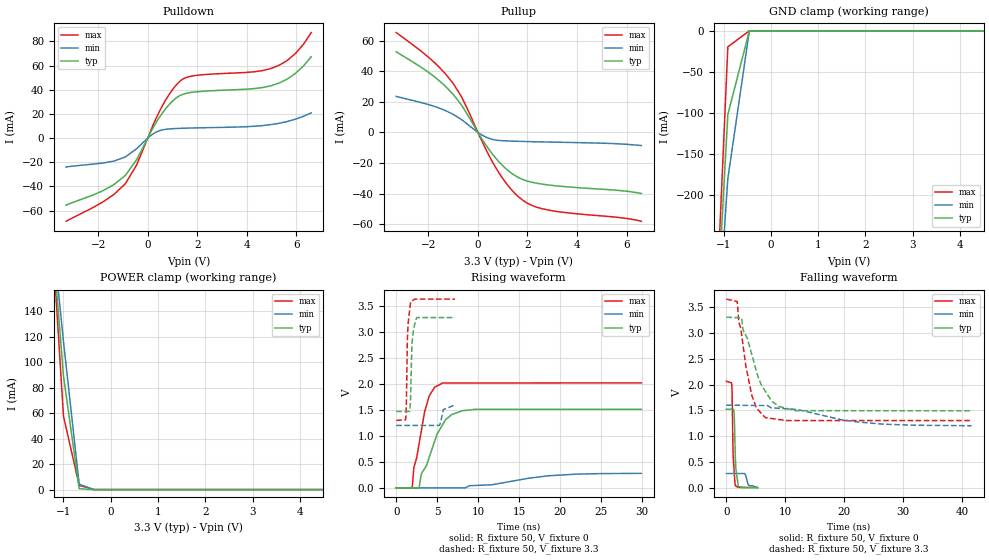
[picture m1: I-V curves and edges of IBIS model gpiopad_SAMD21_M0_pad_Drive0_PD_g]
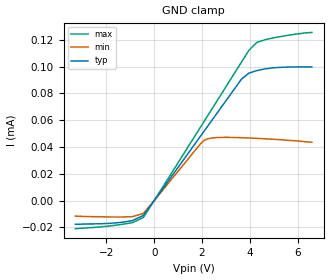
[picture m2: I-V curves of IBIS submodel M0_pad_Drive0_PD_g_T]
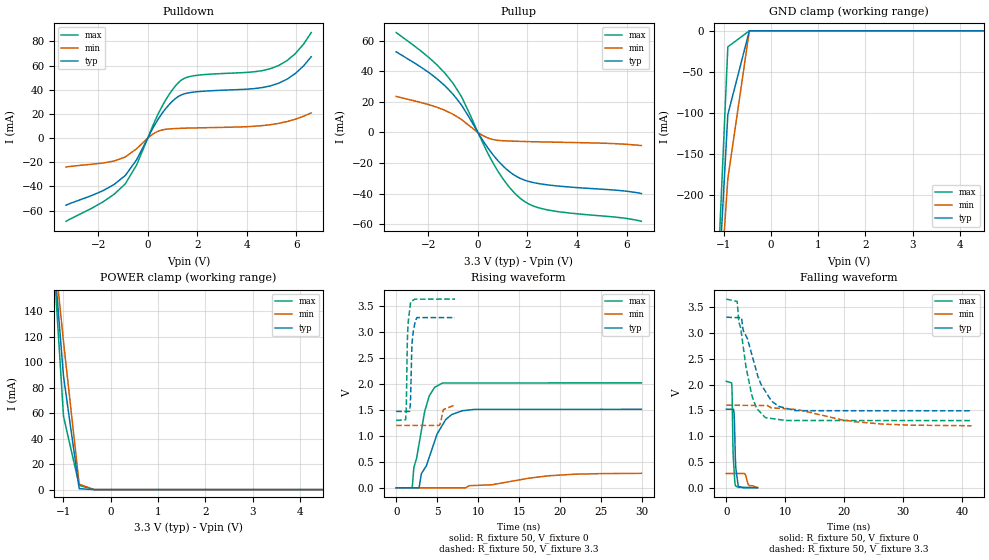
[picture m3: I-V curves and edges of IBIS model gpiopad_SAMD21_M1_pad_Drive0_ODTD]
|   - ATMEL Microcontrollers -
|   IBIS model for SAMD21_TQFP32
[IBIS Ver]   4.2
[Comment char]  |_char
[File Name]   samd21_3t32.ibs
[File Rev]   1.1
[Date]   16-SEP-2015 11:16:11
[Source]   By GENIBIS V3.6 - GENerate chip IBIS model - 11-SEP-2015
[Notes]   Property of ATMEL Corporation
[Disclaimer]
                  (C) Copyright ATMEL Nantes 2002-2015
Atmel Nantes makes no warranty for the use of its products, other than
those expressly contained in the Company's standard warranty which is detailed
in Atmel's Terms and Conditions located on the Company's web site. The Company
assumes no responsability for any errors which may appear in this document.
The user is granted this license only to use the IBIS model and is not granted
rights to sell, load, rent, lease or license the IBIS model in whole or in part,
or in modified form to anyone other than user. User may modify the IBIS model
to suit its specific applications but rights to derivative works and such
modifications shall belong to Atmel Nantes.
This IBIS model is provided on an \"AS IS\" basis and Atmel Nantes makes
absolutely no warranty with respect to the information contained herein.
[Copyright]   Copyright (c) 2002-2015 by ATMEL Nantes SA
|   COMPONENT : SAMD21_TQFP32
[Component]   SAMD21_TQFP32
[Manufacturer]  ATMEL Nantes SAS
[Package]
| Package family : TQFP_L
| RLC file   : V1.0
| RLCEDIT tool   : V1.10-2005/10/06
| variable   typ   min   max
R_pkg   117.51m   47.79m   180.13m
L_pkg   2.31n   1.29n   3.23n
C_pkg   204.61f   201.11f   213.13f
[Pin]   signal_name   model_name   R_pin   L_pin   C_pin
|   Real model names   <--->   IBIS model names
|   gpiopadrw100m33v3p66k25   gpiopad_SAMD21
|   gpiopadrw100m33v3p66k25   gpiopad_SAMD21
|   gpiopadrw100m33v3p66k25   gpiopad_SAMD21
|   gpiopadrw100m33v3p66k25   gpiopad_SAMD21
|   gpiopadrw100m33v3p66k25   gpiopad_SAMD21
|   gpiopadrw100m33v3p66k25   gpiopad_SAMD21
| gpiopadrtwihsmw100m33v3p66k25   gpiopadtwi_SAMD21
| gpiopadrtwihsmw100m33v3p66k25   gpiopadtwi_SAMD21
| gpiopadrtwihsmw100m33v3p66k25   gpiopadtwi_SAMD21
| gpiopadrtwihsmw100m33v3p66k25   gpiopadtwi_SAMD21
| gpiopadrtwihsmw100m33v3p66k25   gpiopadtwi_SAMD21
| gpiopadrtwihsmw100m33v3p66k25   gpiopadtwi_SAMD21
| gpiopadrtwihsmw100m33v3p66k25   gpiopadtwi_SAMD21
| gpiopadrtwihsmw100m33v3p66k25   gpiopadtwi_SAMD21
| gpiopadrtwihsmw100m33v3p66k25   gpiopadtwi_SAMD21
   1   PA00   gpiopad_SAMD21  131.35m   2.51n  204.16f
   2   PA01   gpiopad_SAMD21  106.20m   2.15n  203.50f
   3   PA02   gpiopad_SAMD21   96.87m   2.01n  203.25f
   4   PA03   gpiopad_SAMD21   97.60m   2.03n  203.27f
   5   PA04   gpiopad_SAMD21  105.14m   2.13n  203.47f
   6   PA05   gpiopad_SAMD21   95.11m   1.99n  203.21f
   7   PA06   gpiopad_SAMD21  103.88m   2.12n  203.44f
   8   PA07   gpiopad_SAMD21  127.77m   2.46n  204.07f
   9   VDDANA   POWER   53.65m   1.39n  211.03f
   10   GND   GND  125.87m   2.43n  204.02f
   11   PA08   gpiopadtwi_SAMD21  122.85m   2.39n  203.94f
   12   PA09   gpiopadtwi_SAMD21  130.98m   2.51n  204.15f
   13   PA10   gpiopad_SAMD21  150.34m   2.78n  204.67f
   14   PA11   gpiopad_SAMD21  179.41m   3.20n  205.43f
   15   PA14   gpiopad_SAMD21  127.59m   2.46n  204.07f
   16   PA15   gpiopad_SAMD21  134.65m   2.56n  204.25f
   17   PA16   gpiopadtwi_SAMD21  141.63m   2.66n  204.44f
   18   PA17   gpiopadtwi_SAMD21  115.85m   2.29n  203.76f
   19   PA18   gpiopad_SAMD21   97.53m   2.02n  203.27f
   20   PA19   gpiopad_SAMD21   98.08m   2.03n  203.29f
   21   PA22   gpiopadtwi_SAMD21   96.12m   2.00n  203.23f
   22   PA23   gpiopadtwi_SAMD21  110.02m   2.20n  203.60f
   23   PA24   NC  136.54m   2.59n  204.30f
   24   PA25   NC  150.83m   2.79n  204.68f
   25   PA27   gpiopad_SAMD21  155.54m   2.86n  204.80f
   26   RESET_N   gpiopad_SAMD21  135.46m   2.57n  204.27f
   27   PA28   gpiopad_SAMD21  123.22m   2.39n  203.95f
   28   GND   GND   68.20m   1.60n  206.99f
   29   VDDCORE   POWER   48.51m   1.32n  209.80f
   30   VDDIO   POWER   70.38m   1.63n  207.22f
   31   PA30   gpiopad_SAMD21  147.79m   2.75n  204.60f
   32   PA31   gpiopad_SAMD21  175.39m   3.14n  205.33f
|   MODEL SELECTOR : gpiopadtwi_SAMD21
[Model Selector]   gpiopadtwi_SAMD21
gpiopadtwi_SAMD21_M8_TwiOnInt_gptwih   Twi On Int TwiOnInt
gpiopadtwi_SAMD21_M7_TwiOnFp_gpitwih   Twi On Fp TwiOnFp
gpiopadtwi_SAMD21_M6_TwiOn_gpioptwih   Twi On TwiOn
gpiopadtwi_SAMD21_M5_Drive1_PU_gtwih   drive 1 PU
gpiopadtwi_SAMD21_M4_Drive1_ODTdtwih   drive 1 ODT disabled
gpiopadtwi_SAMD21_M3_Drive1_NOPUtwih   drive 1 NOPU
gpiopadtwi_SAMD21_M2_Drive0_PU_gtwih   drive 0 PU
gpiopadtwi_SAMD21_M1_Drive0_ODTdtwih   drive 0 ODT disabled
gpiopadtwi_SAMD21_M0_Drive0_NOPUtwih   drive 0 NOPU
|   MODEL SELECTOR : gpiopad_SAMD21
[Model Selector]   gpiopad_SAMD21
gpiopad_SAMD21_M5_pad_Drive1_PU_g   drive 1 PU
gpiopad_SAMD21_M4_pad_Drive1_ODTD   drive 1 ODT Disabled
gpiopad_SAMD21_M3_pad_Drive1_PD_g   drive 1 PD
gpiopad_SAMD21_M2_pad_Drive0_PU_g   drive 0 PU
gpiopad_SAMD21_M1_pad_Drive0_ODTD   drive 0 ODT Disabled
gpiopad_SAMD21_M0_pad_Drive0_PD_g   drive 0 PD
| Models and submodels in the file (23): gpiopad_SAMD21_M0_pad_Drive0_PD_g (I/O), M0_pad_Drive0_PD_g_T (Dynamic_clamp), gpiopad_SAMD21_M1_pad_Drive0_ODTD (I/O), gpiopad_SAMD21_M2_pad_Drive0_PU_g (I/O), M2_pad_Drive0_PU_g_T (Dynamic_clamp), gpiopad_SAMD21_M3_pad_Drive1_PD_g (I/O), M3_pad_Drive1_PD_g_T (Dynamic_clamp), gpiopad_SAMD21_M4_pad_Drive1_ODTD (I/O), gpiopad_SAMD21_M5_pad_Drive1_PU_g (I/O), M5_pad_Drive1_PU_g_T (Dynamic_clamp), gpiopadtwi_SAMD21_M0_Drive0_NOPUtwih (I/O), M0_Drive0_NOPUtwih_T (Dynamic_clamp), gpiopadtwi_SAMD21_M1_Drive0_ODTdtwih (I/O), gpiopadtwi_SAMD21_M2_Drive0_PU_gtwih (I/O), M2_Drive0_PU_gtwih_T (Dynamic_clamp), gpiopadtwi_SAMD21_M3_Drive1_NOPUtwih (I/O), M3_Drive1_NOPUtwih_T (Dynamic_clamp), gpiopadtwi_SAMD21_M4_Drive1_ODTdtwih (I/O), gpiopadtwi_SAMD21_M5_Drive1_PU_gtwih (I/O), M5_Drive1_PU_gtwih_T (Dynamic_clamp), gpiopadtwi_SAMD21_M6_TwiOn_gpioptwih (I/O_open_sink), gpiopadtwi_SAMD21_M7_TwiOnFp_gpitwih (I/O_open_sink), gpiopadtwi_SAMD21_M8_TwiOnInt_gptwih (I/O_open_sink)
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|   MODEL : gpiopad_SAMD21_M0_pad_Drive0_PD_g
[Model] gpiopad_SAMD21_M0_pad_Drive0_PD_g
Model_type I/O
Vinl  =  0.99
Vinh  =  2.31
Vmeas =  1.650
| Capacitance   typ   min   max
C_comp   1.45231p   1.42406p   1.52865p
| Variables   typ   min   max
[GND Clamp Reference]   0   0   0
[POWER Clamp Reference]   3.3   1.6   3.65
[Pulldown Reference]   0   0   0
[Pullup Reference]   3.3   1.6   3.65
[Temperature Range]   25   105   -40
[Voltage Range]   3.3   1.6   3.65
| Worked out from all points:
|   slope of the pulldown table from 0 to 0.495 V, typ, clamps not added: 27.5 ohm
|   slope of the pullup table from 0 to 0.495 V, typ, clamps not added: 40.8 ohm
|   falling waveform, R_fixture 50, V_fixture 0: 20-80 % time 310ps typ, 447ps min, 268ps max; typ from 1.52 V to 0.005 V
|   falling waveform, R_fixture 50, V_fixture 3.3: 20-80 % time 3.37ns typ, 10.2ns min, 2.19ns max; typ from 3.3 V to 1.49 V
|   rising waveform, R_fixture 50, V_fixture 0: 20-80 % time 2.45ns typ, 6.98ns min, 1.57ns max; typ from 0 V to 1.51 V
|   rising waveform, R_fixture 50, V_fixture 3.3: 20-80 % time 243ps typ, 444ps min, 206ps max; typ from 1.47 V to 3.28 V
[GND Clamp]
| Voltage   I(typ)   I(min)   I(max)
-3.3V     -2.648A    -2.29A     -3.229A
-1.364V   -582.6mA   -574.2mA   -618.1mA
-909.1mV  -102.2mA   -180.5mA   -19.58mA
-454.5mV  -21.35uA   -51.34uA   -12.12uA
6.6V      0A         0A         0A
[POWER Clamp]
| Voltage   I(typ)   I(min)   I(max)
-3.3V     1.364A     1.145A     1.657A
-1.327V   242.2mA    237.8mA    253.7mA
-995.5mV  88.95mA    115.9mA    57.49mA
-663.6mV  729.7uA    4.271mA    3.277mA
-350mV    1.89uA     6.551uA    83.14uA
6.6V      0A         0A         0A
[Pulldown]
| Voltage   I(typ)   I(min)   I(max)
-3.3V     -55.55mA   -23.94mA   -68.88mA
-1.818V   -43.63mA   -20.7mA    -52.94mA
-909.1mV  -30.98mA   -15.68mA   -37.89mA
-454.5mV  -18.04mA   -8.89mA    -22.41mA
154.7mV   6.272mA    2.59mA     7.905mA
567.2mV   20.14mA    6.629mA    25.86mA
979.7mV   30.15mA    7.712mA    39.51mA
1.341V    35.55mA    8.051mA    47.68mA
1.959V    38.25mA    8.397mA    51.83mA
4.959V    43.17mA    11.07mA    57.42mA
5.955V    53.35mA    15.56mA    69.8mA
6.6V      67.29mA    20.81mA    87.26mA
[Pullup]
| Voltage   I(typ)   I(min)   I(max)
-3.3V     52.59mA    23.53mA    65.18mA
-1.991V   39.2mA     18.18mA    49.05mA
-1.327V   30.39mA    14.41mA    38.57mA
-995.5mV  24.79mA    11.78mA    31.87mA
-663.6mV  17.93mA    8.464mA    23.38mA
103.1mV   -2.756mA   -1.095mA   -3.561mA
670.3mV   -15.78mA   -4.81mA    -21.55mA
1.238V    -25.1mA    -5.553mA   -35.09mA
1.753V    -30.28mA   -5.829mA   -43.5mA
2.217V    -32.6mA    -6.025mA   -47.84mA
2.888V    -34.34mA   -6.261mA   -50.75mA
6.6V      -39.86mA   -8.525mA   -57.96mA
[Ramp]
dV/dt_r   0.913465/2.46764n  0.168178/6.98667n  1.23694/1.61372n
dV/dt_f   1.09661/3.43885n  0.238316/10.2022n  1.41004/2.19264n
R_load = 50
[Falling Waveform]
R_fixture = 50
V_fixture = 0
V_fixture_min = 0
V_fixture_max = 0
| Time   V(typ)   V(min)   V(max)
0s        1.522V     280.3mV    2.062V
901.1ps   1.522V     280.3mV    2.032V
986.8ps   1.522V     280.3mV    1.787V
1.12ns    1.522V     280.3mV    805mV
1.162ns   1.522V     280.3mV    621.2mV
1.372ns   1.29V      280.3mV    243.8mV
1.559ns   507.4mV    280.3mV    39.67mV
2.089ns   25.99mV    280.3mV    11.94mV
3.126ns   4.929mV    277.7mV    11.9mV
5.285ns   4.899mV    2.701mV    11.83mV
[Falling Waveform]
R_fixture = 50
V_fixture = 3.3
V_fixture_min = 1.6
V_fixture_max = 3.65
| Time   V(typ)   V(min)   V(max)
0s        3.3V       1.6V       3.65V
1.842ns   3.293V     1.598V     3.605V
2.124ns   3.292V     1.598V     3.206V
2.584ns   3.29V      1.598V     2.971V
2.851ns   3.049V     1.597V     2.747V
4.322ns   2.582V     1.596V     1.791V
6.634ns   1.868V     1.594V     1.359V
11.79ns   1.494V     1.519V     1.304V
21.69ns   1.494V     1.282V     1.304V
41.63ns   1.492V     1.203V     1.303V
[Rising Waveform]
R_fixture = 50
V_fixture = 0
V_fixture_min = 0
V_fixture_max = 0
| Time   V(typ)   V(min)   V(max)
0s        2.582nV    16.82nV    2.172nV
1.925ns   1.212mV    16.82nV    778.4uV
2.149ns   1.353mV    16.82nV    392.5mV
2.79ns    1.757mV    16.82nV    849mV
3.065ns   272.6mV    16.82nV    1.101V
4.022ns   587mV      16.82nV    1.77V
5.643ns   1.213V     16.82nV    2.02V
6.758ns   1.411V     16.82nV    2.02V
9.62ns    1.513V     46.47mV    2.02V
29.88ns   1.513V     279.7mV    2.023V
[Rising Waveform]
R_fixture = 50
V_fixture = 3.3
V_fixture_min = 1.6
V_fixture_max = 3.65
| Time   V(typ)   V(min)   V(max)
0s        1.472V     1.203V     1.3V
1.147ns   1.472V     1.203V     1.311V
1.24ns    1.472V     1.203V     1.655V
1.39ns    1.472V     1.203V     2.982V
1.758ns   1.76V      1.203V     3.584V
1.931ns   2.794V     1.203V     3.602V
2.527ns   3.281V     1.203V     3.636V
5.244ns   3.281V     1.203V     3.636V
5.754ns   3.281V     1.51V      3.636V
7.17ns    3.281V     1.596V     3.636V
[Add Submodel]
| Submodel Name Mode
M0_pad_Drive0_PD_g_T Non-Driving
| Submodel
[Submodel]  M0_pad_Drive0_PD_g_T
Submodel_type Dynamic_clamp
[GND Clamp]
| Voltage   I(typ)   I(min)   I(max)
-3.3V     -17.64uA   -11.56uA   -20.93uA
-1.364V   -16.21uA   -12.22uA   -17.76uA
-909.1mV  -14.89uA   -11.95uA   -16.44uA
-454.5mV  -11.05uA   -9.587uA   -12.61uA
2.062V    51.2uA     44.52uA    58.37uA
2.527V    62.72uA    46.91uA    71.5uA
3.65V     90.56uA    46.97uA    103.3uA
3.964V    95.13uA    46.73uA    112.2uA
4.295V    97.03uA    46.43uA    118uA
4.627V    98.26uA    46.13uA    120uA
5.291V    99.42uA    45.42uA    122.4uA
6.6V      99.78uA    43.54uA    125.5uA
|   MODEL : gpiopad_SAMD21_M1_pad_Drive0_ODTD
[Model] gpiopad_SAMD21_M1_pad_Drive0_ODTD
Model_type I/O
Vinl  =  0.99
Vinh  =  2.31
Vmeas =  1.650
| Capacitance   typ   min   max
C_comp   1.45231p   1.42406p   1.52865p
| Variables   typ   min   max
[GND Clamp Reference]   0   0   0
[POWER Clamp Reference]   3.3   1.6   3.65
[Pulldown Reference]   0   0   0
[Pullup Reference]   3.3   1.6   3.65
[Temperature Range]   25   105   -40
[Voltage Range]   3.3   1.6   3.65
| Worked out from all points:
|   slope of the pulldown table from 0 to 0.495 V, typ, clamps not added: 27.5 ohm
|   slope of the pullup table from 0 to 0.495 V, typ, clamps not added: 40.8 ohm
|   falling waveform, R_fixture 50, V_fixture 0: 20-80 % time 310ps typ, 447ps min, 268ps max; typ from 1.52 V to 0.005 V
|   falling waveform, R_fixture 50, V_fixture 3.3: 20-80 % time 3.37ns typ, 10.2ns min, 2.19ns max; typ from 3.3 V to 1.49 V
|   rising waveform, R_fixture 50, V_fixture 0: 20-80 % time 2.45ns typ, 6.98ns min, 1.57ns max; typ from 0 V to 1.51 V
|   rising waveform, R_fixture 50, V_fixture 3.3: 20-80 % time 243ps typ, 444ps min, 206ps max; typ from 1.47 V to 3.28 V
[GND Clamp]
| Voltage   I(typ)   I(min)   I(max)
-3.3V     -2.648A    -2.29A     -3.229A
-1.364V   -582.6mA   -574.2mA   -618.1mA
-909.1mV  -102.2mA   -180.5mA   -19.58mA
-454.5mV  -21.35uA   -51.34uA   -12.12uA
6.6V      0A         0A         0A
[POWER Clamp]
| Voltage   I(typ)   I(min)   I(max)
-3.3V     1.364A     1.145A     1.657A
-1.327V   242.2mA    237.8mA    253.7mA
-995.5mV  88.95mA    115.9mA    57.49mA
-663.6mV  729.7uA    4.271mA    3.277mA
-350mV    1.89uA     6.551uA    83.14uA
6.6V      0A         0A         0A
[Pulldown]
| Voltage   I(typ)   I(min)   I(max)
-3.3V     -55.55mA   -23.94mA   -68.88mA
-1.818V   -43.63mA   -20.7mA    -52.94mA
-909.1mV  -30.98mA   -15.68mA   -37.89mA
-454.5mV  -18.04mA   -8.89mA    -22.41mA
154.7mV   6.272mA    2.59mA     7.905mA
567.2mV   20.14mA    6.629mA    25.86mA
979.7mV   30.15mA    7.712mA    39.51mA
1.341V    35.55mA    8.051mA    47.68mA
1.959V    38.25mA    8.397mA    51.83mA
4.959V    43.17mA    11.07mA    57.42mA
5.955V    53.35mA    15.56mA    69.8mA
6.6V      67.29mA    20.81mA    87.26mA
[Pullup]
| Voltage   I(typ)   I(min)   I(max)
-3.3V     52.59mA    23.53mA    65.18mA
-1.991V   39.2mA     18.18mA    49.05mA
-1.327V   30.39mA    14.41mA    38.57mA
-995.5mV  24.79mA    11.78mA    31.87mA
-663.6mV  17.93mA    8.464mA    23.38mA
103.1mV   -2.756mA   -1.095mA   -3.561mA
670.3mV   -15.78mA   -4.81mA    -21.55mA
1.238V    -25.1mA    -5.553mA   -35.09mA
1.753V    -30.28mA   -5.829mA   -43.5mA
2.217V    -32.6mA    -6.025mA   -47.84mA
2.888V    -34.34mA   -6.261mA   -50.75mA
6.6V      -39.86mA   -8.525mA   -57.96mA
[Ramp]
dV/dt_r   0.913465/2.46764n  0.168178/6.98667n  1.23694/1.61372n
dV/dt_f   1.09661/3.43885n  0.238316/10.2022n  1.41004/2.19264n
R_load = 50
[Falling Waveform]
R_fixture = 50
V_fixture = 0
V_fixture_min = 0
V_fixture_max = 0
| Time   V(typ)   V(min)   V(max)
0s        1.522V     280.3mV    2.062V
901.1ps   1.522V     280.3mV    2.032V
986.8ps   1.522V     280.3mV    1.787V
1.12ns    1.522V     280.3mV    805mV
1.162ns   1.522V     280.3mV    621.2mV
1.372ns   1.29V      280.3mV    243.8mV
1.559ns   507.4mV    280.3mV    39.67mV
2.089ns   25.99mV    280.3mV    11.94mV
3.126ns   4.929mV    277.7mV    11.9mV
5.285ns   4.899mV    2.701mV    11.83mV
[Falling Waveform]
R_fixture = 50
V_fixture = 3.3
V_fixture_min = 1.6
V_fixture_max = 3.65
| Time   V(typ)   V(min)   V(max)
0s        3.3V       1.6V       3.65V
1.842ns   3.293V     1.598V     3.605V
2.124ns   3.292V     1.598V     3.206V
2.584ns   3.29V      1.598V     2.971V
2.851ns   3.049V     1.597V     2.747V
4.322ns   2.582V     1.596V     1.791V
6.634ns   1.868V     1.594V     1.359V
11.79ns   1.494V     1.519V     1.304V
21.69ns   1.494V     1.282V     1.304V
41.63ns   1.492V     1.203V     1.303V
[Rising Waveform]
R_fixture = 50
V_fixture = 0
V_fixture_min = 0
V_fixture_max = 0
| Time   V(typ)   V(min)   V(max)
0s        2.582nV    16.82nV    2.172nV
1.925ns   1.212mV    16.82nV    778.4uV
2.149ns   1.353mV    16.82nV    392.5mV
2.79ns    1.757mV    16.82nV    849mV
3.065ns   272.6mV    16.82nV    1.101V
4.022ns   587mV      16.82nV    1.77V
5.643ns   1.213V     16.82nV    2.02V
6.758ns   1.411V     16.82nV    2.02V
9.62ns    1.513V     46.47mV    2.02V
29.88ns   1.513V     279.7mV    2.023V
[Rising Waveform]
R_fixture = 50
V_fixture = 3.3
V_fixture_min = 1.6
V_fixture_max = 3.65
| Time   V(typ)   V(min)   V(max)
0s        1.472V     1.203V     1.3V
1.147ns   1.472V     1.203V     1.311V
1.24ns    1.472V     1.203V     1.655V
1.39ns    1.472V     1.203V     2.982V
1.758ns   1.76V      1.203V     3.584V
1.931ns   2.794V     1.203V     3.602V
2.527ns   3.281V     1.203V     3.636V
5.244ns   3.281V     1.203V     3.636V
5.754ns   3.281V     1.51V      3.636V
7.17ns    3.281V     1.596V     3.636V
